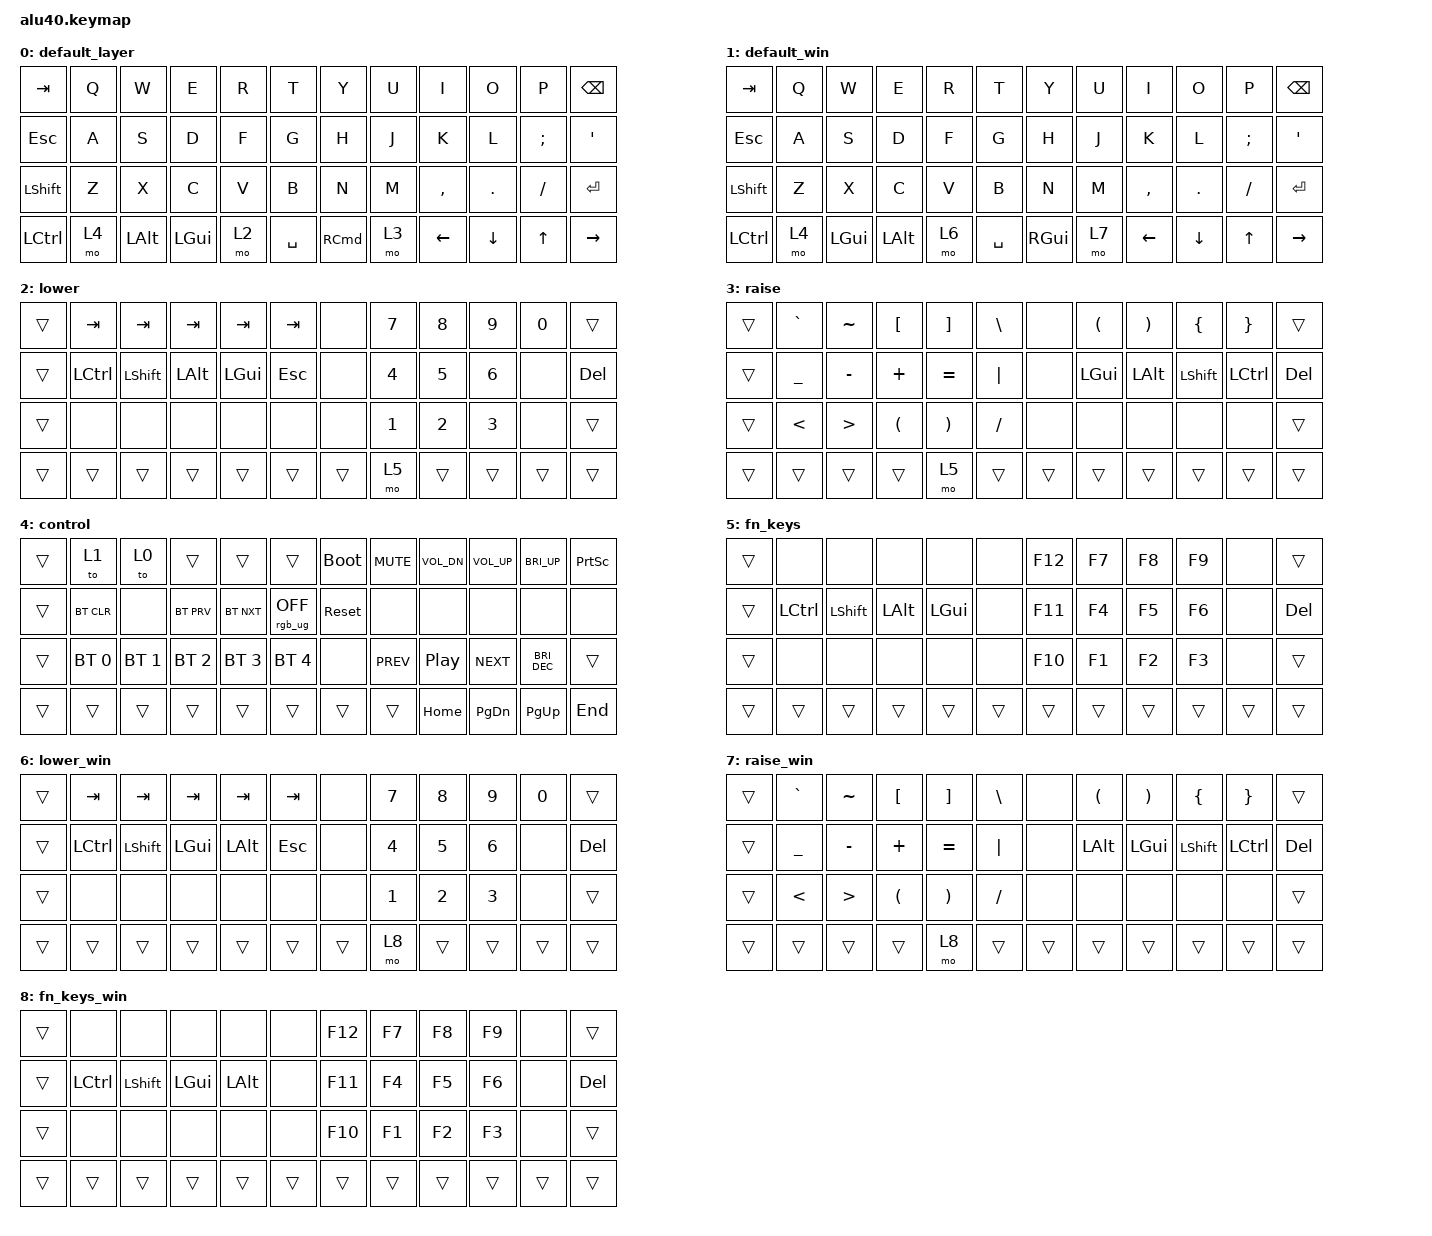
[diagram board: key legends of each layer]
/*
 * Copyright (c) 2022 The ZMK Contributors
 *
 * SPDX-License-Identifier: MIT
 */

#include <behaviors.dtsi>
#include <dt-bindings/zmk/bt.h>
#include <dt-bindings/zmk/keys.h>
#include <dt-bindings/zmk/rgb.h>

/ {
    keymap {
        compatible = "zmk,keymap";

        default_layer {
            // -----------------------------------------------------------------------------------------
            // | ESC/~ |  Q   |  W   |  E   |  R   |  T   |   Y   |  U    |  I   |  O   |   P   | BSPC  |
            // | TAB   |  A   |  S   |  D   |  F   |  G   |   H   |  J    |  K   |  L   |   ;   |  '    |
            // | SHIFT |  Z   |  X   |  C   |  V   |  B   |   N   |  M    |  ,   |  .   |   /   |RET/SFT|
            // | PLAY  | LCTL | LALT | LGUI | LOWR |     SPACE    |  RAIS | LARW | UARW | DARW  |  RARW |

            bindings = <
&kp TAB     &kp Q  &kp W         &kp E     &kp R  &kp T      &kp Y              &kp U  &kp I      &kp O     &kp P         &kp BSPC
&kp ESCAPE  &kp A  &kp S         &kp D     &kp F  &kp G      &kp H              &kp J  &kp K      &kp L     &kp SEMI      &kp SQT
&kp LSHFT   &kp Z  &kp X         &kp C     &kp V  &kp B      &kp N              &kp M  &kp COMMA  &kp DOT   &kp FSLH      &kp ENTER
&kp LCTRL   &mo 4  &kp LEFT_ALT  &kp LGUI  &mo 2  &kp SPACE  &kp RIGHT_COMMAND  &mo 3  &kp LEFT   &kp DOWN  &kp UP_ARROW  &kp RIGHT
            >;
        };

        default_win {
            bindings = <
&kp TAB     &kp Q  &kp W         &kp E     &kp R  &kp T      &kp Y          &kp U  &kp I      &kp O     &kp P         &kp BSPC
&kp ESCAPE  &kp A  &kp S         &kp D     &kp F  &kp G      &kp H          &kp J  &kp K      &kp L     &kp SEMI      &kp SQT
&kp LSHFT   &kp Z  &kp X         &kp C     &kp V  &kp B      &kp N          &kp M  &kp COMMA  &kp DOT   &kp FSLH      &kp ENTER
&kp LCTRL   &mo 4  &kp LEFT_GUI  &kp LALT  &mo 6  &kp SPACE  &kp RIGHT_GUI  &mo 7  &kp LEFT   &kp DOWN  &kp UP_ARROW  &kp RIGHT
            >;
        };

        lower {
            bindings = <
&trans  &kp TAB    &kp TAB         &kp TAB       &kp TAB       &kp TAB     &none   &kp N7        &kp N8        &kp N9        &kp N0  &trans
&trans  &kp LCTRL  &kp LEFT_SHIFT  &kp LEFT_ALT  &kp LEFT_GUI  &kp ESCAPE  &none   &kp NUMBER_4  &kp NUMBER_5  &kp NUMBER_6  &none   &kp DELETE
&trans  &none      &none           &none         &none         &none       &none   &kp NUMBER_1  &kp NUMBER_2  &kp NUMBER_3  &none   &trans
&trans  &trans     &trans          &trans        &trans        &trans      &trans  &mo 5         &trans        &trans        &trans  &trans
            >;
        };

        raise {
            bindings = <
&trans  &kp GRAVE       &kp TILDE         &kp LEFT_BRACKET      &kp RIGHT_BRACKET      &kp BACKSLASH  &none   &kp LEFT_PARENTHESIS  &kp RIGHT_PARENTHESIS  &kp LEFT_BRACE  &kp RIGHT_BRACE  &trans
&trans  &kp UNDERSCORE  &kp MINUS         &kp PLUS              &kp EQUAL              &kp PIPE       &none   &kp LEFT_GUI          &kp LEFT_ALT           &kp LEFT_SHIFT  &kp LCTRL        &kp DEL
&trans  &kp LESS_THAN   &kp GREATER_THAN  &kp LEFT_PARENTHESIS  &kp RIGHT_PARENTHESIS  &kp SLASH      &none   &none                 &none                  &none           &none            &trans
&trans  &trans          &trans            &trans                &mo 5                  &trans         &trans  &trans                &trans                 &trans          &trans           &trans
            >;
        };

        control {
            bindings = <
&trans  &to 1         &to 0         &trans        &trans        &trans           &bootloader  &kp K_MUTE  &kp C_VOL_DN      &kp C_VOL_UP   &kp C_BRI_UP          &kp PRINTSCREEN
&trans  &bt BT_CLR    &none         &bt BT_PRV    &bt BT_NXT    &rgb_ug RGB_OFF  &sys_reset   &none       &none             &none          &none                 &none
&trans  &bt BT_SEL 0  &bt BT_SEL 1  &bt BT_SEL 2  &bt BT_SEL 3  &bt BT_SEL 4     &none        &kp C_PREV  &kp C_PLAY_PAUSE  &kp C_NEXT     &kp C_BRIGHTNESS_DEC  &trans
&trans  &trans        &trans        &trans        &trans        &trans           &trans       &trans      &kp HOME          &kp PAGE_DOWN  &kp PG_UP             &kp END
            >;
        };

        fn_keys {
            bindings = <
&trans  &none      &none           &none         &none         &none   &kp F12  &kp F7  &kp F8  &kp F9  &none   &trans
&trans  &kp LCTRL  &kp LEFT_SHIFT  &kp LEFT_ALT  &kp LEFT_GUI  &none   &kp F11  &kp F4  &kp F5  &kp F6  &none   &kp DEL
&trans  &none      &none           &none         &none         &none   &kp F10  &kp F1  &kp F2  &kp F3  &none   &trans
&trans  &trans     &trans          &trans        &trans        &trans  &trans   &trans  &trans  &trans  &trans  &trans
            >;
        };

        lower_win {
            bindings = <
&trans  &kp TAB    &kp TAB         &kp TAB       &kp TAB       &kp TAB     &none   &kp N7        &kp N8        &kp N9        &kp N0  &trans
&trans  &kp LCTRL  &kp LEFT_SHIFT  &kp LEFT_GUI  &kp LEFT_ALT  &kp ESCAPE  &none   &kp NUMBER_4  &kp NUMBER_5  &kp NUMBER_6  &none   &kp DELETE
&trans  &none      &none           &none         &none         &none       &none   &kp NUMBER_1  &kp NUMBER_2  &kp NUMBER_3  &none   &trans
&trans  &trans     &trans          &trans        &trans        &trans      &trans  &mo 8         &trans        &trans        &trans  &trans
            >;
        };

        raise_win {
            bindings = <
&trans  &kp GRAVE       &kp TILDE         &kp LEFT_BRACKET      &kp RIGHT_BRACKET      &kp BACKSLASH  &none   &kp LEFT_PARENTHESIS  &kp RIGHT_PARENTHESIS  &kp LEFT_BRACE  &kp RIGHT_BRACE  &trans
&trans  &kp UNDERSCORE  &kp MINUS         &kp PLUS              &kp EQUAL              &kp PIPE       &none   &kp LEFT_ALT          &kp LEFT_GUI           &kp LEFT_SHIFT  &kp LCTRL        &kp DEL
&trans  &kp LESS_THAN   &kp GREATER_THAN  &kp LEFT_PARENTHESIS  &kp RIGHT_PARENTHESIS  &kp SLASH      &none   &none                 &none                  &none           &none            &trans
&trans  &trans          &trans            &trans                &mo 8                  &trans         &trans  &trans                &trans                 &trans          &trans           &trans
            >;
        };

        fn_keys_win {
            bindings = <
&trans  &none      &none           &none         &none         &none   &kp F12  &kp F7  &kp F8  &kp F9  &none   &trans
&trans  &kp LCTRL  &kp LEFT_SHIFT  &kp LEFT_GUI  &kp LEFT_ALT  &none   &kp F11  &kp F4  &kp F5  &kp F6  &none   &kp DEL
&trans  &none      &none           &none         &none         &none   &kp F10  &kp F1  &kp F2  &kp F3  &none   &trans
&trans  &trans     &trans          &trans        &trans        &trans  &trans   &trans  &trans  &trans  &trans  &trans
            >;
        };
    };
};
